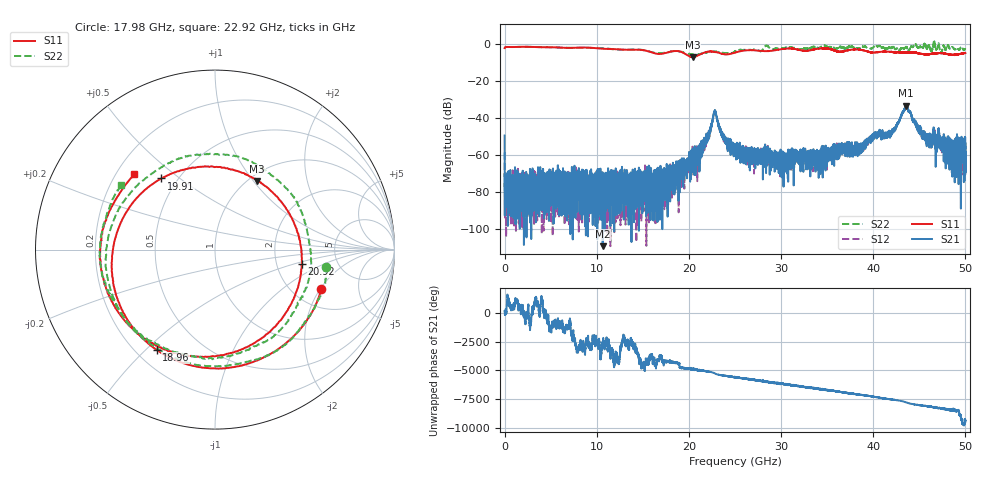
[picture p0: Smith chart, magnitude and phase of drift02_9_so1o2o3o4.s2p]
!Created with skrf (http://scikit-rf.org).
# Hz S RI R 50.0
!freq ReS11 ImS11 ReS21 ImS21 ReS12 ImS12 ReS22 ImS22
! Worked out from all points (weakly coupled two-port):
!   10001 points, 300 kHz to 50 GHz, reference 50 ohm
!   highest |S21| = -33.06 dB at 43.55 GHz (marker M1); lowest = -109.1 dB at 10.65 GHz (marker M2)
!   lowest |S11| = -7.0 dB at 20.4 GHz (marker M3), VSWR 2.63, Z = 54.6 + j52.3 ohm
!   |S11| at or under -10 dB: nowhere
!   |S22| runs from -5.7 to 2.1 dB; largest |S21 - S12| = 0.0043
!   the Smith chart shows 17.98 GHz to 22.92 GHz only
!   S11 on the Smith chart (normalised r, x): 17.98 GHz: 2.80, -2.05; 18.96 GHz: 0.28, -0.54; 19.91 GHz: 0.41, +0.43; 20.92 GHz: 2.77, -0.60; 22.92 GHz: 0.27, +0.37
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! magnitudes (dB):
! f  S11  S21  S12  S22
! 300 kHz  -2.1  -49.3  -58.4  -2.1
! 255.3 MHz  -1.4  -74.7  -72.3  -1.4
! 680.3 MHz  -1.5  -91.4  -74.3  -1.5
! 8.335 GHz  -1.7  -69.8  -75.6  -1.9
! 10.65 GHz  -2.4  -109.1  -73.3  -2.1
! 16.67 GHz  -5.2  -72.6  -73.6  -4.8
! 17.98 GHz  -4.0  -68.2  -67.1  -4.1
! 18.96 GHz  -3.8  -65.6  -64.5  -3.9
! 19.91 GHz  -6.1  -66.5  -62.7  -5.2
! 20.4 GHz  -7.0  -63.9  -65.6  -5.4
! 20.92 GHz  -6.2  -58.9  -62.1  -5.6
! 22.92 GHz  -4.2  -37.2  -37.4  -3.9
! 23.88 GHz  -5.4  -49.7  -51.0  -4.7
! 25 GHz  -4.5  -55.1  -54.3  -3.9
! 29.74 GHz  -2.9  -69.5  -61.8  -2.1
! 33.34 GHz  -3.0  -64.2  -61.7  -1.6
! 38.17 GHz  -2.8  -55.8  -57.0  -2.4
! 41.67 GHz  -4.0  -48.4  -48.7  -1.9
! 43.55 GHz  -4.5  -33.1  -33.3  -1.4
! 45.87 GHz  -5.3  -52.3  -50.8  -2.2
! 48.64 GHz  -5.6  -64.0  -62.8  -1.6
! 50 GHz  -4.7  -53.4  -56.6  -2.6
